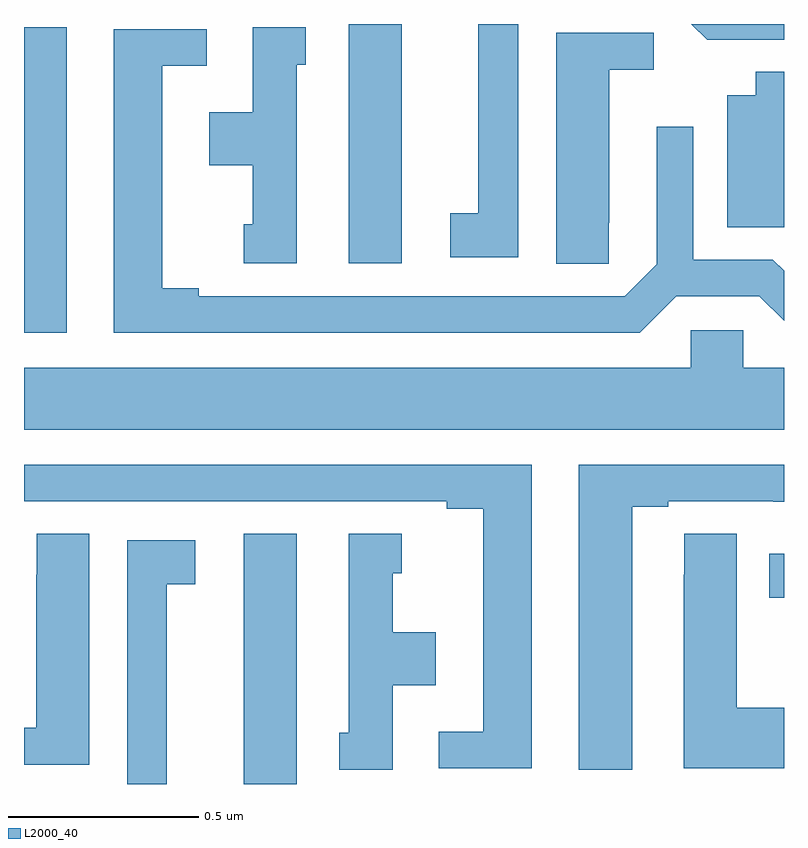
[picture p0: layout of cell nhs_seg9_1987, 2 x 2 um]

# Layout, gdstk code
import gdstk
lib = gdstk.Library(unit=1e-6, precision=1e-09)
def R(c, l, rs):  # rectangles x0, y0, x1, y1
    for r in rs: c.add(gdstk.rectangle(r[:2], r[2:], *l))
def P(c, l, *ps):  # polygons
    for p in ps: c.add(gdstk.Polygon(p, *l))
L2000_40 = (2000, 40)

nhs_seg9_1987 = lib.new_cell('nhs_seg9_1987')
R(nhs_seg9_1987, L2000_40, [(135.578,1183.5,135.718,1184.158), (136.961,1183.99,137,1184.106), (135,1184.688,135.112,1185.491), (135.854,1184.871,135.994,1185.5)])
P(nhs_seg9_1987, L2000_40, [(136.894,1185.459),(137,1185.459),(137,1185.5),(136.756,1185.5),(136.798,1185.458),(136.894,1185.458)],
  [(136.3,1185.5),(136.196,1185.5),(136.196,1185.002),(136.122,1185.002),(136.122,1184.886),(136.3,1184.886)],
  [(135.718,1185.393),(135.742,1185.393),(135.742,1185.491),(135.602,1185.491),(135.602,1185.268),(135.488,1185.268),(135.488,1185.128),(135.602,1185.128),(135.602,1184.973),(135.578,1184.973),(135.578,1184.871),(135.718,1184.871)],
  [(136.717,1184.784),(136.935,1184.784),(137,1184.719),(137,1184.851),(136.971,1184.88),(136.761,1184.88),(136.761,1185.229),(136.665,1185.229),(136.665,1184.868),(136.581,1184.784),(135.46,1184.784),(135.46,1184.804),(135.364,1184.804),(135.364,1185.39),(135.481,1185.39),(135.481,1185.486),(135.236,1185.486),(135.236,1184.688),(136.621,1184.688)],
  [(136.539,1184.977),(136.54,1184.977),(136.54,1185.38),(136.657,1185.38),(136.657,1185.477),(136.4,1185.477),(136.4,1184.869),(136.539,1184.869)],
  [(137,1185.374),(136.925,1185.374),(136.925,1185.313),(136.85,1185.313),(136.85,1184.965),(137,1184.965)],
  [(137,1184.596),(136.893,1184.596),(136.893,1184.694),(136.755,1184.694),(136.755,1184.596),(135,1184.596),(135,1184.432),(137,1184.432)],
  [(136.6,1184.229),(136.696,1184.229),(136.696,1184.244),(136.972,1184.244),(136.972,1184.243),(137,1184.243),(137,1184.34),(136.46,1184.34),(136.46,1183.537),(136.6,1183.537)],
  [(136.336,1184.34),(135,1184.34),(135,1184.244),(136.112,1184.244),(136.112,1184.224),(136.208,1184.224),(136.208,1183.638),(136.092,1183.638),(136.092,1183.542),(136.336,1183.542)],
  [(135.172,1184.159),(135.033,1184.159),(135.033,1184.051),(135.032,1184.051),(135.032,1183.648),(135,1183.648),(135,1183.551),(135.172,1183.551)],
  [(137,1183.701),(136.876,1183.701),(136.876,1184.159),(136.737,1184.159),(136.737,1184.051),(136.736,1184.051),(136.736,1183.541),(137,1183.541)],
  [(135.97,1183.76),(136.084,1183.76),(136.084,1183.9),(135.97,1183.9),(135.97,1184.055),(135.994,1184.055),(135.994,1184.158),(135.854,1184.158),(135.854,1183.635),(135.83,1183.635),(135.83,1183.537),(135.97,1183.537)],
  [(135.376,1184.026),(135.451,1184.026),(135.451,1184.142),(135.272,1184.142),(135.272,1183.5),(135.376,1183.5)])

lib.write_gds('nhs_seg9_1987.gds')
